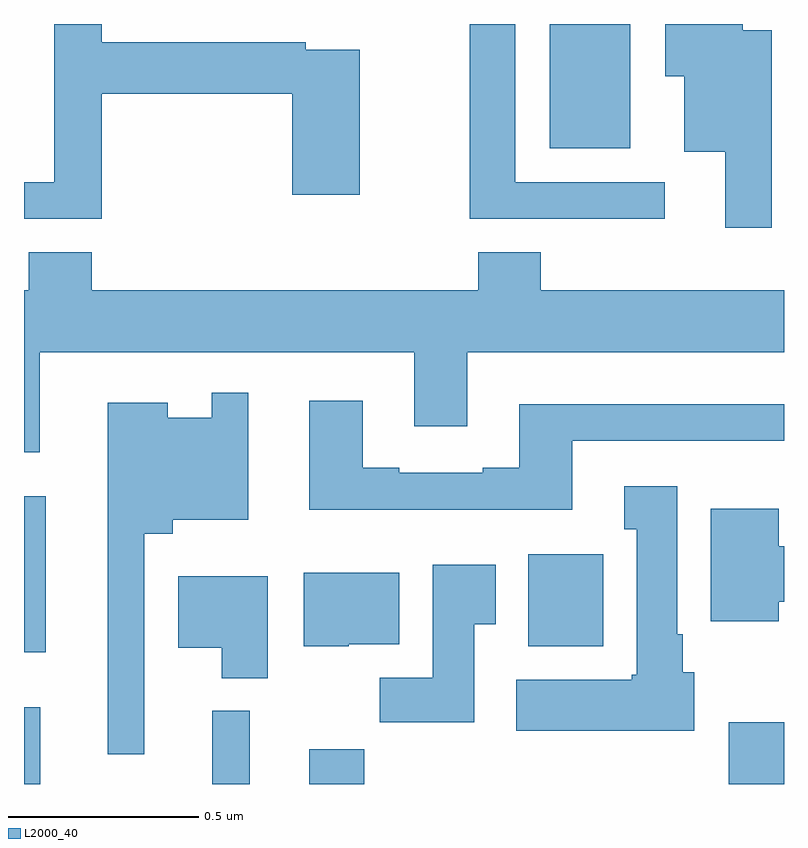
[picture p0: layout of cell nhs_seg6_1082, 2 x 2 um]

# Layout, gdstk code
import gdstk
lib = gdstk.Library(unit=1e-6, precision=1e-09)
def R(c, l, rs):  # rectangles x0, y0, x1, y1
    for r in rs: c.add(gdstk.rectangle(r[:2], r[2:], *l))
def P(c, l, *ps):  # polygons
    for p in ps: c.add(gdstk.Polygon(p, *l))
L2000_40 = (2000, 40)

nhs_seg6_1082 = lib.new_cell('nhs_seg6_1082')
R(nhs_seg6_1082, L2000_40, [(124,979.5,124.043,979.702), (124.496,979.5,124.594,979.693), (124.751,979.5,124.895,979.592), (125.855,979.5,126,979.663), (124,979.847,124.057,980.257), (125.327,979.862,125.524,980.104), (125.384,981.173,125.596,981.5)])
P(nhs_seg6_1082, L2000_40, [(125.968,981.484),(125.892,981.484),(125.892,981.5),(125.687,981.5),(125.687,981.362),(125.738,981.362),(125.738,981.164),(125.846,981.164),(125.846,980.964),(125.968,980.964)],
  [(124.205,981.316),(124.706,981.316),(124.706,981.051),(124.884,981.051),(124.884,981.432),(124.742,981.432),(124.742,981.452),(124.205,981.452),(124.205,981.5),(124.079,981.5),(124.079,981.084),(124,981.084),(124,980.987),(124.205,980.987)],
  [(125.686,981.084),(125.293,981.084),(125.293,981.5),(125.173,981.5),(125.173,980.987),(125.686,980.987)],
  [(124.042,980.636),(125.027,980.636),(125.027,980.442),(125.167,980.442),(125.167,980.636),(126,980.636),(126,980.8),(125.36,980.8),(125.36,980.899),(125.195,980.899),(125.195,980.8),(124.178,980.8),(124.178,980.899),(124.013,980.899),(124.013,980.8),(124,980.8),(124,980.373),(124.042,980.373)],
  [(124.317,980.159),(124.391,980.159),(124.391,980.195),(124.59,980.195),(124.59,980.53),(124.494,980.53),(124.494,980.464),(124.378,980.464),(124.378,980.503),(124.22,980.503),(124.22,979.578),(124.317,979.578)],
  [(125.443,980.403),(126,980.403),(126,980.5),(125.303,980.5),(125.303,980.332),(125.207,980.332),(125.207,980.319),(124.987,980.319),(124.987,980.332),(124.891,980.332),(124.891,980.509),(124.751,980.509),(124.751,980.222),(125.443,980.222)],
  [(125.764,979.794),(125.734,979.794),(125.734,979.894),(125.719,979.894),(125.719,980.284),(125.579,980.284),(125.579,980.171),(125.612,980.171),(125.612,979.788),(125.599,979.788),(125.599,979.774),(125.295,979.774),(125.295,979.64),(125.764,979.64)],
  [(125.986,979.979),(126,979.979),(126,980.126),(125.986,980.126),(125.986,980.224),(125.807,980.224),(125.807,979.928),(125.986,979.928)],
  [(125.185,979.921),(125.242,979.921),(125.242,980.077),(125.075,980.077),(125.075,979.78),(124.936,979.78),(124.936,979.662),(125.185,979.662)],
  [(124.854,979.868),(124.987,979.868),(124.987,980.056),(124.736,980.056),(124.736,979.862),(124.854,979.862)],
  [(124.642,980.047),(124.406,980.047),(124.406,979.859),(124.52,979.859),(124.52,979.778),(124.642,979.778)])

lib.write_gds('nhs_seg6_1082.gds')
